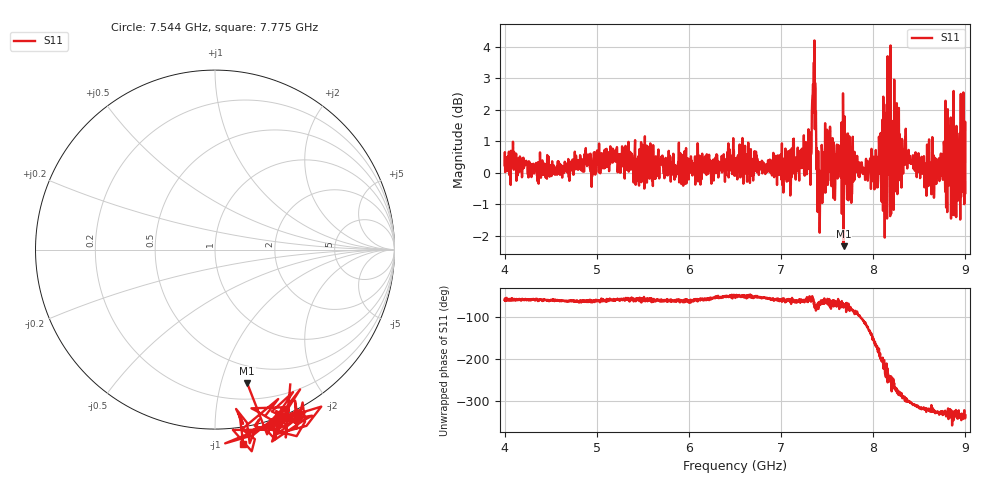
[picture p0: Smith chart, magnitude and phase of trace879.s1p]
! Created with skrf 1.8.0 (http://scikit-rf.org).
# Hz S RI R 50.0
!freq ReS11 ImS11
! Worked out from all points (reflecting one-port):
!   1601 points, 4 GHz to 9 GHz, reference 50 ohm
!   lowest |S11| = -2.3 dB at 7.678 GHz (marker M1), VSWR 7.49, Z = 16.9 - j60.6 ohm
!   phase of S11 starts at -59 deg and turns -275 deg over the sweep
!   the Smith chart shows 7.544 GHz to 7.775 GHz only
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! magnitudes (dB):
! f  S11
! 4 GHz  0.2
! 4.625 GHz  -0.2
! 4.891 GHz  0.3
! 5.25 GHz  0.0
! 5.875 GHz  0.1
! 6.5 GHz  0.2
! 7.125 GHz  0.6
! 7.303 GHz  0.1
! 7.356 GHz  3.5
! 7.412 GHz  -0.5
! 7.444 GHz  0.7
! 7.509 GHz  -0.3
! 7.591 GHz  0.6
! 7.678 GHz  -2.3
! 7.75 GHz  0.0
! 8.034 GHz  0.3
! 8.094 GHz  1.2
! 8.109 GHz  2.4
! 8.153 GHz  1.1
! 8.197 GHz  1.1
! 8.253 GHz  0.6
! 8.312 GHz  1.1
! 8.375 GHz  0.6
! 8.556 GHz  -0.5
! 8.784 GHz  2.3
! 8.919 GHz  -0.8
! 8.972 GHz  0.5
! 9 GHz  -0.6
